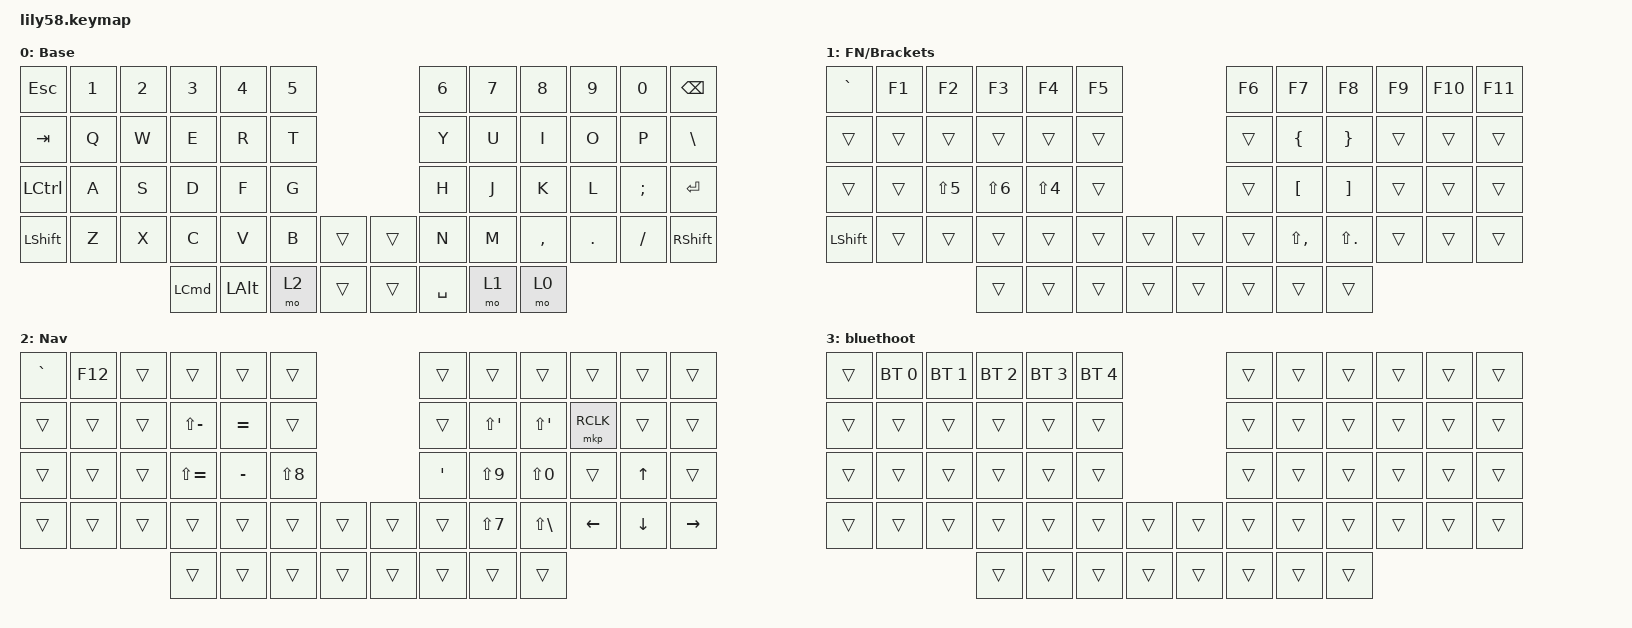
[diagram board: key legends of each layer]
#include <behaviors/mouse_keys.dtsi>
#include <behaviors.dtsi>
#include <dt-bindings/zmk/bt.h>
#include <dt-bindings/zmk/keys.h>
#include <dt-bindings/zmk/pointing.h>

/ {
    combos { compatible = "zmk,combos"; };

    keymap {
        compatible = "zmk,keymap";

        base {
            display-name = "Base";
            bindings = <
&kp ESCAPE        &kp N1  &kp N2  &kp N3    &kp N4        &kp N5                    &kp N6     &kp N7  &kp N8     &kp N9   &kp N0         &kp BACKSPACE
&kp TAB           &kp Q   &kp W   &kp E     &kp R         &kp T                     &kp Y      &kp U   &kp I      &kp O    &kp P          &kp BACKSLASH
&kp LEFT_CONTROL  &kp A   &kp S   &kp D     &kp F         &kp G                     &kp H      &kp J   &kp K      &kp L    &kp SEMICOLON  &kp RET
&kp LEFT_SHIFT    &kp Z   &kp X   &kp C     &kp V         &kp B   &trans    &trans  &kp N      &kp M   &kp COMMA  &kp DOT  &kp FSLH       &kp RIGHT_SHIFT
                                  &kp LCMD  &kp LEFT_ALT  &mo 2   &trans    &trans  &kp SPACE  &mo 1   &mo 0
            >;
        };

        layer_1 {
            display-name = "FN/Brackets";
            bindings = <
&kp GRAVE       &kp F1  &kp F2      &kp F3            &kp F4            &kp F5                    &kp F6  &kp F7            &kp F8             &kp F9  &kp F10  &kp F11
&trans          &trans  &trans      &trans            &trans            &trans                    &trans  &kp LEFT_BRACE    &kp RIGHT_BRACE    &trans  &trans   &trans
&trans          &trans  &kp LS(N5)  &kp LS(NUMBER_6)  &kp LS(NUMBER_4)  &trans                    &trans  &kp LEFT_BRACKET  &kp RIGHT_BRACKET  &trans  &trans   &trans
&kp LEFT_SHIFT  &trans  &trans      &trans            &trans            &trans  &trans    &trans  &trans  &kp LS(COMMA)     &kp LS(DOT)        &trans  &trans   &trans
                                    &trans            &trans            &trans  &trans    &trans  &trans  &trans            &trans
            >;
        };

        nav {
            display-name = "Nav";
            bindings = <
&kp GRAVE  &kp F12  &trans  &trans         &trans     &trans                        &trans    &trans              &trans             &trans     &trans          &trans
&trans     &trans   &trans  &kp LS(MINUS)  &kp EQUAL  &trans                        &trans    &kp LS(APOSTROPHE)  &kp LS(APOS)       &mkp RCLK  &trans          &trans
&trans     &trans   &trans  &kp LS(EQUAL)  &kp MINUS  &kp LS(N8)                    &kp APOS  &kp LS(N9)          &kp LS(N0)         &trans     &kp UP_ARROW    &trans
&trans     &trans   &trans  &trans         &trans     &trans      &trans    &trans  &trans    &kp LS(N7)          &kp LS(BACKSLASH)  &kp LEFT   &kp DOWN_ARROW  &kp RIGHT
                            &trans         &trans     &trans      &trans    &trans  &trans    &trans              &trans
            >;
        };

        bluethoot {
            bindings = <
&trans  &bt BT_SEL 0  &bt BT_SEL 1  &bt BT_SEL 2  &bt BT_SEL 3  &bt BT_SEL 4                    &trans  &trans  &trans  &trans  &trans  &trans
&trans  &trans        &trans        &trans        &trans        &trans                          &trans  &trans  &trans  &trans  &trans  &trans
&trans  &trans        &trans        &trans        &trans        &trans                          &trans  &trans  &trans  &trans  &trans  &trans
&trans  &trans        &trans        &trans        &trans        &trans        &trans    &trans  &trans  &trans  &trans  &trans  &trans  &trans
                                    &trans        &trans        &trans        &trans    &trans  &trans  &trans  &trans
            >;
        };
    };
};
